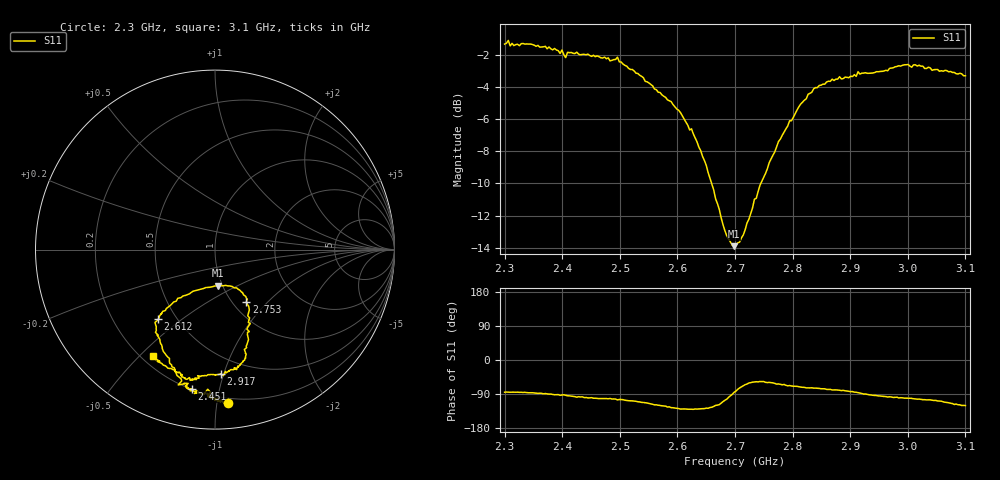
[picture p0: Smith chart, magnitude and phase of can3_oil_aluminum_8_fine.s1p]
# MHz S MA R 50
!  freq  S11
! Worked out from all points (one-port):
!   250 points, 2.3 GHz to 3.1 GHz, reference 50 ohm
!   lowest |S11| = -13.9 dB at 2.698 GHz (marker M1), VSWR 1.51, Z = 47.5 - j19.9 ohm
!   |S11| at or under -10 dB: 2.659 GHz to 2.745 GHz (85.49 MHz wide, 3.16 % of centre)
!   S11 on the Smith chart (normalised r, x): 2.3 GHz: 0.17, -1.08; 2.451 GHz: 0.20, -0.83; 2.612 GHz: 0.40, -0.41; 2.753 GHz: 1.16, -0.76; 2.917 GHz: 0.37, -0.98; 3.1 GHz: 0.25, -0.55
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2300  0.8579 -85.0
2335.341  0.8581 -85.2
2396.386  0.8027 -93.1
2402.811  0.7955 -91.8
2425.301  0.8099 -98.2
2451.004  0.7857 -99.3
2483.133  0.7608 -101.3
2495.984  0.7812 -105.2
2502.41  0.7547 -104.2
2560.241  0.6219 -118.3
2602.008  0.5345 -128.2
2611.647  0.5014 -129.2
2653.414  0.3413 -127.4
2682.329  0.2256 -106.3
2698.394  0.2016 -85.5
2701.606  0.2031 -82.0
2714.458  0.2187 -67.8
2733.735  0.2824 -57.8
2753.012  0.3397 -59.0
2801.205  0.5073 -69.1
2836.546  0.6225 -74.2
2900.803  0.6819 -83.5
2916.867  0.6922 -87.4
2965.06  0.709 -97.8
3000.402  0.7416 -100.8
3048.594  0.7154 -106.5
3080.723  0.7005 -117.3
3100  0.6837 -120.3
